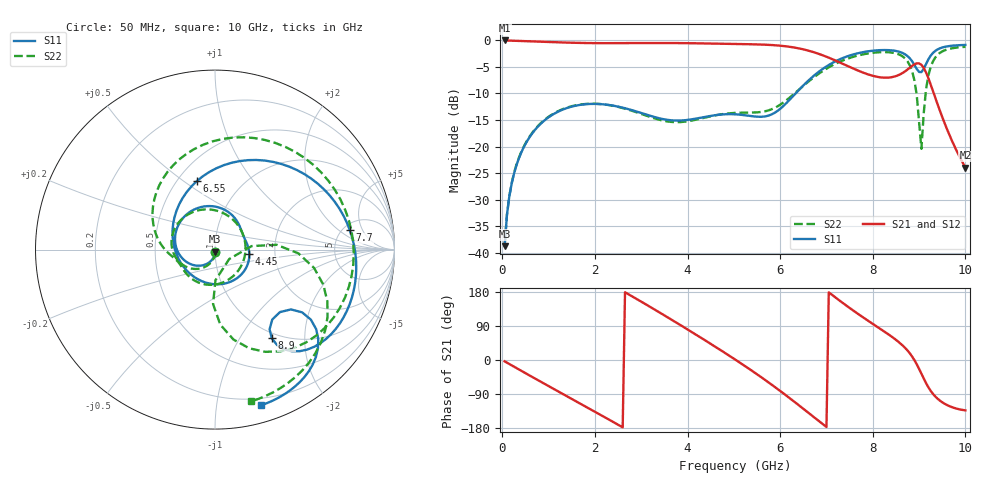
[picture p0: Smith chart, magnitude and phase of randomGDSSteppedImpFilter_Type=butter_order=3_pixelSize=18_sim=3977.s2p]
! freq	dB(S11)	phase(S11)	dB(S12)	phase(S12)
!  dB(S21)	phase(S21)	dB(S22)	phase(S22)
!S-par simulation data
#  GHz  S  DB  R 50
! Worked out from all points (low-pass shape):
!   200 points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, 50 MHz to 10 GHz, reference 50 ohm
!   highest |S21| = -0.02 dB at 50 MHz (marker M1); lowest = -24.0 dB at 10 GHz (marker M2)
!   |S21| within 3 dB of the highest: start of sweep to 6.981 GHz
!   lowest |S11| = -38.8 dB at 50 MHz (marker M3), VSWR 1.02, Z = 50.1 - j1.15 ohm
!   |S11| at or under -10 dB: start of sweep to 6.334 GHz
!   |S22| runs from -38.7 to -1.2 dB; largest |S21 - S12| = 0
!   S11 on the Smith chart (normalised r, x): 50 MHz: 1.00, -0.02; 4.45 GHz: 1.47, -0.07; 6.55 GHz: 0.62, +0.56; 7.7 GHz: 5.79, +2.93; 8.9 GHz: 0.92, -1.39; 10 GHz: 0.14, -1.33
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0.05  -38.77 -83.9  -0.02 -3.5  -0.02 -3.5  -38.74 -83.0
0.2  -27.07 -99.9  -0.07 -14.0  -0.07 -14.0  -27.00 -97.0
0.5  -19.52 -125.8  -0.15 -34.7  -0.15 -34.7  -19.42 -118.6
1.15  -13.68 -176.5  -0.36 -79.1  -0.36 -79.1  -13.59 -160.3
1.75  -12.07 139.2  -0.50 -119.6  -0.50 -119.6  -12.02 162.0
2.6  -12.68 80.8  -0.53 -177.7  -0.53 -177.7  -12.75 103.5
3.4  -14.70 38.8  -0.50 125.1  -0.50 125.1  -14.98 30.9
3.95  -15.04 17.8  -0.53 84.4  -0.53 84.4  -15.31 -30.3
4.45  -14.30 -7.3  -0.60 46.5  -0.60 46.5  -14.40 -81.0
5.05  -13.94 -53.6  -0.69 -0.5  -0.69 -0.5  -13.66 -128.4
5.9  -13.55 -166.5  -0.93 -72.5  -0.93 -72.5  -12.64 -168.5
6.55  -8.07 104.9  -1.80 -133.5  -1.80 -133.5  -8.20 153.4
6.7  -6.87 89.0  -2.17 -148.0  -2.17 -148.0  -7.15 140.3
7.25  -3.72 40.2  -4.02 159.8  -4.02 159.8  -4.18 86.0
7.7  -2.39 8.1  -5.77 120.1  -5.77 120.1  -2.82 40.8
8.35  -1.85 -30.4  -7.01 66.7  -7.01 66.7  -2.25 -20.2
8.7  -2.65 -50.2  -5.83 31.7  -5.83 31.7  -3.43 -57.3
8.9  -4.64 -57.4  -4.52 -0.5  -4.52 -0.5  -7.55 -86.0
9.05  -5.98 -43.9  -4.61 -36.2  -4.61 -36.2  -20.43 -33.2
9.15  -4.46 -35.8  -6.04 -61.0  -6.04 -61.0  -9.25 4.5
9.3  -2.37 -40.9  -9.55 -89.3  -9.55 -89.3  -3.95 -18.0
10  -0.87 -73.5  -23.99 -132.9  -23.99 -132.9  -1.22 -76.6
